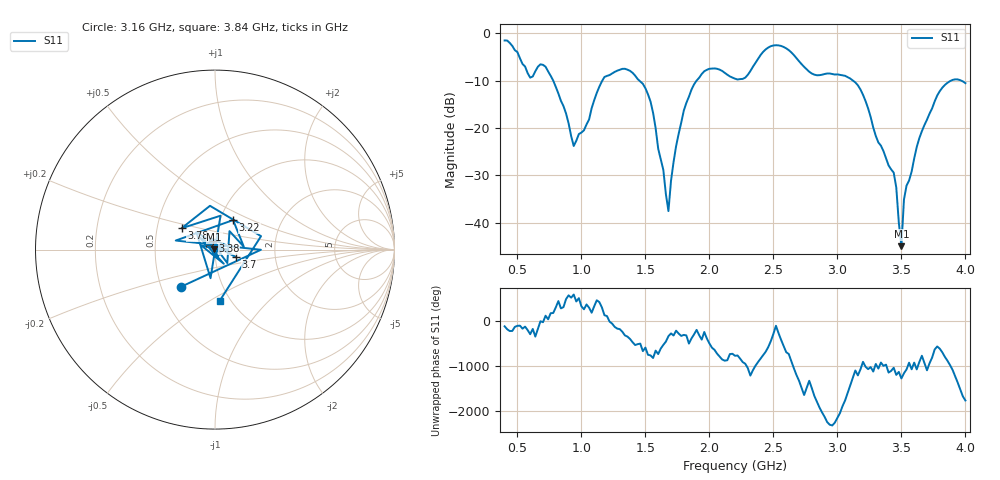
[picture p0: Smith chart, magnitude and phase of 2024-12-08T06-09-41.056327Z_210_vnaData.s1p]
!Created with skrf (http://scikit-rf.org).
# Hz S RI R 50.0
!freq ReS11 ImS11
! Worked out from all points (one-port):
!   181 points, 400 MHz to 4 GHz, reference 50 ohm
!   lowest |S11| = -44.9 dB at 3.5 GHz (marker M1), VSWR 1.01, Z = 49.5 + j0.205 ohm
!   |S11| at or under -10 dB: 780.3 MHz to 1.163 GHz (382.8 MHz wide, 39.4 % of centre); 1.454 GHz to 1.899 GHz (445.5 MHz wide, 26.6 % of centre); 3.123 GHz to 3.887 GHz (763.5 MHz wide, 21.8 % of centre) (the widest 3 of 4)
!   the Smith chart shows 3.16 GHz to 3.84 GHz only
!   S11 on the Smith chart (normalised r, x): 3.16 GHz: 0.63, -0.28; 3.22 GHz: 1.15, +0.39; 3.38 GHz: 0.97, +0.09; 3.7 GHz: 1.26, -0.11; 3.78 GHz: 0.67, +0.17; 3.84 GHz: 0.89, -0.55
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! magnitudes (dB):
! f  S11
! 400 MHz  -1.5
! 600 MHz  -9.4
! 720 MHz  -7.0
! 860 MHz  -15.4
! 940 MHz  -23.8
! 1.18 GHz  -9.2
! 1.3 GHz  -7.7
! 1.54 GHz  -14.4
! 1.68 GHz  -37.5
! 1.76 GHz  -21.2
! 1.86 GHz  -11.9
! 1.96 GHz  -8.0
! 2.2 GHz  -9.6
! 2.48 GHz  -2.7
! 2.66 GHz  -4.6
! 2.82 GHz  -8.7
! 3.1 GHz  -9.5
! 3.16 GHz  -11.0
! 3.22 GHz  -14.3
! 3.38 GHz  -26.4
! 3.44 GHz  -29.4
! 3.5 GHz  -44.9
! 3.52 GHz  -35.1
! 3.56 GHz  -31.1
! 3.7 GHz  -18.2
! 3.78 GHz  -13.1
! 3.84 GHz  -10.9
! 4 GHz  -10.5
